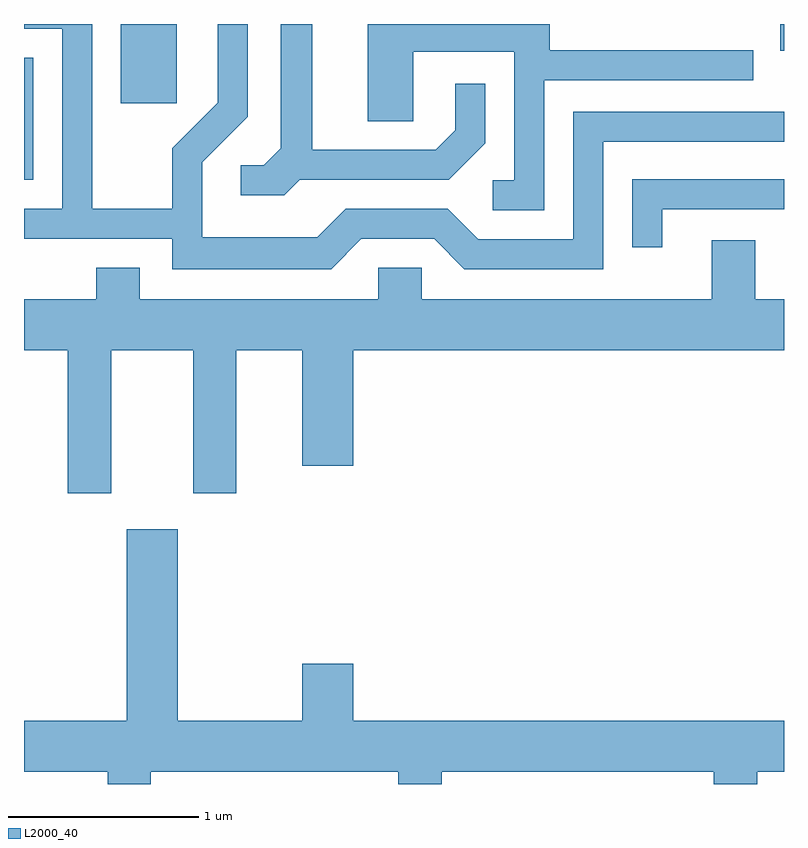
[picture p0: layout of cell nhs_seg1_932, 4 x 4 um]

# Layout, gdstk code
import gdstk
lib = gdstk.Library(unit=1e-6, precision=1e-09)
def R(c, l, rs):  # rectangles x0, y0, x1, y1
    for r in rs: c.add(gdstk.rectangle(r[:2], r[2:], *l))
def P(c, l, *ps):  # polygons
    for p in ps: c.add(gdstk.Polygon(p, *l))
L2000_40 = (2000, 40)

nhs_seg1_932 = lib.new_cell('nhs_seg1_932')
R(nhs_seg1_932, L2000_40, [(213.611,924.891,213.659,925.534), (214.121,925.296,214.414,925.712), (217.591,925.571,217.611,925.712)])
P(nhs_seg1_932, L2000_40, [(215.062,924.891),(215.847,924.891),(216.039,925.084),(216.039,925.398),(215.881,925.398),(215.881,925.152),(215.779,925.049),(215.129,925.049),(215.129,925.712),(214.961,925.712),(214.961,925.057),(214.874,924.969),(214.753,924.969),(214.753,924.811),(214.982,924.811)],
  [(215.387,924.581),(215.769,924.581),(215.929,924.421),(216.659,924.421),(216.659,925.091),(217.611,925.091),(217.611,925.249),(216.501,925.249),(216.501,924.579),(216.002,924.579),(215.842,924.739),(215.304,924.739),(215.154,924.589),(214.549,924.589),(214.549,924.984),(214.789,925.224),(214.789,925.712),(214.631,925.712),(214.631,925.297),(214.391,925.057),(214.391,924.739),(213.969,924.739),(213.969,925.712),(213.611,925.712),(213.611,925.686),(213.811,925.686),(213.811,924.739),(213.611,924.739),(213.611,924.581),(214.391,924.581),(214.391,924.421),(215.227,924.421)],
  [(216.349,925.416),(217.448,925.416),(217.448,925.574),(216.379,925.574),(216.379,925.712),(215.421,925.712),(215.421,925.201),(215.659,925.201),(215.659,925.566),(216.191,925.566),(216.191,924.889),(216.078,924.889),(216.078,924.731),(216.349,924.731)],
  [(216.969,924.736),(217.611,924.736),(217.611,924.894),(216.811,924.894),(216.811,924.538),(216.969,924.538)],
  [(214.069,923.996),(214.501,923.996),(214.501,923.241),(214.729,923.241),(214.729,923.996),(215.076,923.996),(215.076,923.386),(215.344,923.386),(215.344,923.996),(217.611,923.996),(217.611,924.264),(217.459,924.264),(217.459,924.574),(217.231,924.574),(217.231,924.264),(215.704,924.264),(215.704,924.429),(215.476,924.429),(215.476,924.264),(214.219,924.264),(214.219,924.429),(213.991,924.429),(213.991,924.264),(213.611,924.264),(213.611,923.996),(213.841,923.996),(213.841,923.241),(214.069,923.241)],
  [(214.279,921.776),(215.581,921.776),(215.581,921.712),(215.809,921.712),(215.809,921.776),(217.241,921.776),(217.241,921.712),(217.469,921.712),(217.469,921.776),(217.611,921.776),(217.611,922.044),(215.344,922.044),(215.344,922.344),(215.076,922.344),(215.076,922.044),(214.419,922.044),(214.419,923.054),(214.151,923.054),(214.151,922.044),(213.611,922.044),(213.611,921.776),(214.051,921.776),(214.051,921.712),(214.279,921.712)])

lib.write_gds('nhs_seg1_932.gds')
